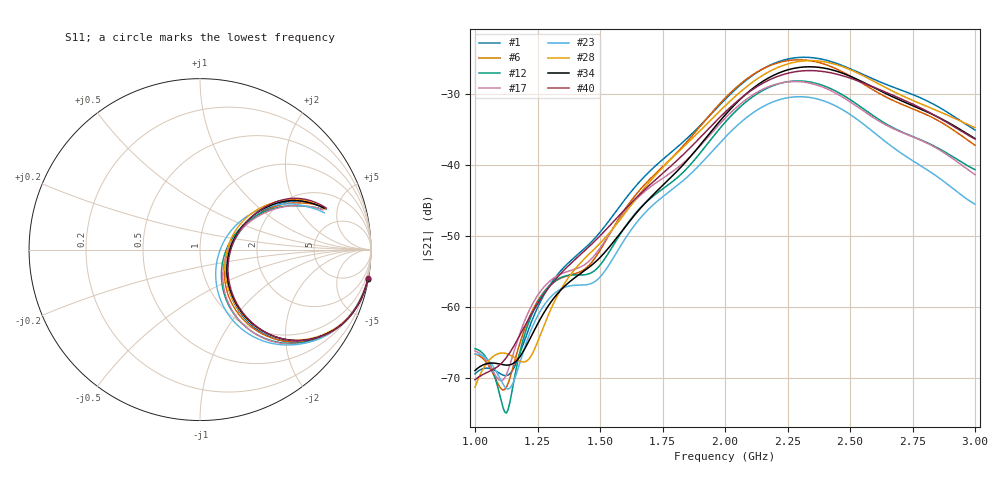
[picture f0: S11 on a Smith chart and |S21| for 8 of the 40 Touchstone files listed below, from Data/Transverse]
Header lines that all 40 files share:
! TOUCHSTONE file generated by CST MICROWAVE STUDIO
! Project name: transverse.cst
! Header version: 2024
! Port assignment regex: !\s*Touchstone port\s*([0-9]+)\s*=\s*(CST MWS port|CST DES external port|CST DES block port)\s*(.+)\s* \(\"(.*)\"\)(\s*mode\s*([0-9]+))?.*
! Touchstone port assignment:
! Touchstone port 1 = CST MWS port 1 ("")
! Touchstone port 2 = CST MWS port 2 ("")
# GHz S MA R 50
Fixed: D = 160, Feed = 2.85625, L = 100, R = 0.384908, length = 57.125, wave = 114.25
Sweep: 1 GHz to 3 GHz
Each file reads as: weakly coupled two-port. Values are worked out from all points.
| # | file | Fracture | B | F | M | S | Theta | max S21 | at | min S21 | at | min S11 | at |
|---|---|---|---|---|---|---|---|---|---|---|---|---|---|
| 1 | transverse_121.s2p | 1 | 12.5 | 15 | 10 | 1 | 90 | -24.81 dB | 2.316 GHz | -69.6 dB | 1.125 GHz | -15.4 dB | 2.368 GHz |
| 2 | transverse_122.s2p | 5 | 12.5 | 15 | 10 | 1 | 90 | -24.77 dB | 2.32 GHz | -70.0 dB | 1.119 GHz | -15.3 dB | 2.366 GHz |
| 3 | transverse_123.s2p | 1 | 12.5 | 15 | 10 | 2 | 90 | -26.89 dB | 2.342 GHz | -70.4 dB | 1 GHz | -14.9 dB | 2.375 GHz |
| 4 | transverse_124.s2p | 5 | 12.5 | 15 | 10 | 2 | 90 | -26.85 dB | 2.34 GHz | -70.1 dB | 1 GHz | -14.9 dB | 2.373 GHz |
| 5 | transverse_125.s2p | 1 | 12.5 | 15 | 20 | 1 | 90 | -25.14 dB | 2.289 GHz | -70.7 dB | 1.112 GHz | -16.0 dB | 2.342 GHz |
| 6 | transverse_126.s2p | 5 | 12.5 | 15 | 20 | 1 | 90 | -25.17 dB | 2.294 GHz | -71.6 dB | 1.112 GHz | -15.9 dB | 2.347 GHz |
| 7 | transverse_127.s2p | 1 | 12.5 | 15 | 20 | 2 | 90 | -27.41 dB | 2.303 GHz | -68.8 dB | 1.099 GHz | -15.0 dB | 2.355 GHz |
| 8 | transverse_128.s2p | 5 | 12.5 | 15 | 20 | 2 | 90 | -27.39 dB | 2.3 GHz | -69.4 dB | 1.106 GHz | -15.1 dB | 2.353 GHz |
| 9 | transverse_129.s2p | 1 | 12.5 | 15 | 30 | 1 | 90 | -26.60 dB | 2.296 GHz | -74.2 dB | 1.125 GHz | -16.9 dB | 2.355 GHz |
| 10 | transverse_130.s2p | 5 | 12.5 | 15 | 30 | 1 | 90 | -26.62 dB | 2.3 GHz | -76.1 dB | 1.125 GHz | -17.0 dB | 2.353 GHz |
| 11 | transverse_131.s2p | 1 | 12.5 | 15 | 30 | 2 | 90 | -28.13 dB | 2.289 GHz | -72.8 dB | 1.118 GHz | -16.7 dB | 2.349 GHz |
| 12 | transverse_132.s2p | 5 | 12.5 | 15 | 30 | 2 | 90 | -28.14 dB | 2.294 GHz | -74.9 dB | 1.125 GHz | -16.7 dB | 2.347 GHz |
| 13 | transverse_133.s2p | 1 | 12.5 | 25 | 10 | 1 | 90 | -27.08 dB | 2.276 GHz | -70.4 dB | 1.086 GHz | -15.4 dB | 2.336 GHz |
| 14 | transverse_134.s2p | 5 | 12.5 | 25 | 10 | 1 | 90 | -27.07 dB | 2.283 GHz | -69.8 dB | 1.086 GHz | -15.2 dB | 2.342 GHz |
| 15 | transverse_135.s2p | 1 | 12.5 | 25 | 10 | 2 | 90 | -28.44 dB | 2.322 GHz | -68.7 dB | 1 GHz | -14.7 dB | 2.355 GHz |
| 16 | transverse_136.s2p | 5 | 12.5 | 25 | 10 | 2 | 90 | -28.39 dB | 2.32 GHz | -68.2 dB | 1.066 GHz | -14.8 dB | 2.353 GHz |
| 17 | transverse_137.s2p | 1 | 12.5 | 25 | 20 | 1 | 90 | -28.22 dB | 2.276 GHz | -70.3 dB | 1.105 GHz | -16.2 dB | 2.349 GHz |
| 18 | transverse_138.s2p | 5 | 12.5 | 25 | 20 | 1 | 90 | -28.21 dB | 2.281 GHz | -70.9 dB | 1.106 GHz | -16.2 dB | 2.347 GHz |
| 19 | transverse_139.s2p | 1 | 12.5 | 25 | 20 | 2 | 90 | -29.13 dB | 2.296 GHz | -68.7 dB | 1.112 GHz | -16.1 dB | 2.349 GHz |
| 20 | transverse_140.s2p | 5 | 12.5 | 25 | 20 | 2 | 90 | -29.12 dB | 2.294 GHz | -69.4 dB | 1.119 GHz | -16.1 dB | 2.347 GHz |
| 21 | transverse_141.s2p | 1 | 12.5 | 25 | 30 | 1 | 90 | -29.91 dB | 2.287 GHz | -74.4 dB | 1.125 GHz | -18.4 dB | 2.353 GHz |
| 22 | transverse_142.s2p | 5 | 12.5 | 25 | 30 | 1 | 90 | -29.92 dB | 2.294 GHz | -74.3 dB | 1.125 GHz | -18.4 dB | 2.353 GHz |
| 23 | transverse_143.s2p | 1 | 12.5 | 25 | 30 | 2 | 90 | -30.36 dB | 2.3 GHz | -71.5 dB | 1.132 GHz | -19.0 dB | 2.347 GHz |
| 24 | transverse_144.s2p | 5 | 12.5 | 25 | 30 | 2 | 90 | -30.34 dB | 2.296 GHz | -70.7 dB | 1.132 GHz | -19.0 dB | 2.349 GHz |
| 25 | transverse_145.s2p | 1 | 10 | 5 | 10 | 1 | 180 | -24.33 dB | 2.327 GHz | -70.2 dB | 1 GHz | -16.6 dB | 2.366 GHz |
| 26 | transverse_146.s2p | 5 | 10 | 5 | 10 | 1 | 180 | -24.41 dB | 2.329 GHz | -70.2 dB | 1 GHz | -16.6 dB | 2.368 GHz |
| 27 | transverse_147.s2p | 1 | 10 | 5 | 10 | 2 | 180 | -25.27 dB | 2.34 GHz | -71.2 dB | 1 GHz | -16.2 dB | 2.38 GHz |
| 28 | transverse_148.s2p | 5 | 10 | 5 | 10 | 2 | 180 | -25.28 dB | 2.342 GHz | -71.3 dB | 1 GHz | -16.2 dB | 2.382 GHz |
| 29 | transverse_149.s2p | 1 | 10 | 5 | 20 | 1 | 180 | -24.99 dB | 2.34 GHz | -69.8 dB | 1 GHz | -16.1 dB | 2.373 GHz |
| 30 | transverse_150.s2p | 5 | 10 | 5 | 20 | 1 | 180 | -25.03 dB | 2.342 GHz | -69.7 dB | 1 GHz | -16.1 dB | 2.375 GHz |
| 31 | transverse_151.s2p | 1 | 10 | 5 | 20 | 2 | 180 | -25.46 dB | 2.329 GHz | -69.3 dB | 1 GHz | -15.6 dB | 2.375 GHz |
| 32 | transverse_152.s2p | 5 | 10 | 5 | 20 | 2 | 180 | -25.48 dB | 2.333 GHz | -69.3 dB | 1 GHz | -15.6 dB | 2.373 GHz |
| 33 | transverse_153.s2p | 1 | 10 | 5 | 30 | 1 | 180 | -26.13 dB | 2.34 GHz | -68.9 dB | 1 GHz | -15.4 dB | 2.373 GHz |
| 34 | transverse_154.s2p | 5 | 10 | 5 | 30 | 1 | 180 | -26.15 dB | 2.34 GHz | -68.9 dB | 1 GHz | -15.4 dB | 2.373 GHz |
| 35 | transverse_155.s2p | 1 | 10 | 5 | 30 | 2 | 180 | -26.29 dB | 2.32 GHz | -69.7 dB | 1.125 GHz | -15.3 dB | 2.366 GHz |
| 36 | transverse_156.s2p | 5 | 10 | 5 | 30 | 2 | 180 | -26.29 dB | 2.322 GHz | -68.8 dB | 1.125 GHz | -15.3 dB | 2.368 GHz |
| 37 | transverse_157.s2p | 1 | 10 | 15 | 10 | 1 | 180 | -24.55 dB | 2.32 GHz | -69.6 dB | 1 GHz | -15.4 dB | 2.366 GHz |
| 38 | transverse_158.s2p | 5 | 10 | 15 | 10 | 1 | 180 | -24.53 dB | 2.322 GHz | -69.6 dB | 1 GHz | -15.4 dB | 2.368 GHz |
| 39 | transverse_159.s2p | 1 | 10 | 15 | 10 | 2 | 180 | -26.86 dB | 2.356 GHz | -69.4 dB | 1.22 GHz | -15.1 dB | 2.371 GHz |
| 40 | transverse_160.s2p | 5 | 10 | 15 | 10 | 2 | 180 | -26.68 dB | 2.34 GHz | -70.2 dB | 1 GHz | -15.1 dB | 2.373 GHz |
